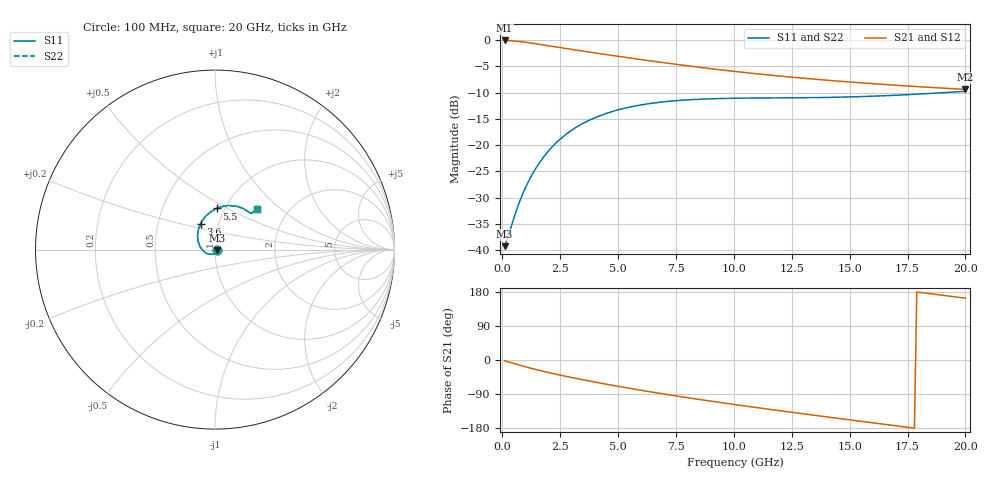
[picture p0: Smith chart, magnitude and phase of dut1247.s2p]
! Touchstone file exported from HFSS 2024.1.0
!  File:  C:/UserFiles/LocalFiles/RDL_TSV_Batchsim/temp_RDL_TSV_1247_1780268494.aedt
!  Generated:  07:17:26 AM Jun  1, 2026
!  Design:  RDL_TSV
!  Project:  temp_RDL_TSV_1247_1780268494
!  Setup:  Setup1
!  Solution:  Sweep
! Variables:
!  dtsv = 12.81um
!  hbump = 3um
!  htsv = 89.98um
!  ldown = 191.24um
!  lrdl = 491.46um
!  p = 40
!  p1 = 49.77um
!  rhole = 10um
!  subl = 2539.56um
!  t = 450um
!  tdown = 4.78um
!  trdl = 4.37um
!  viad = 10um
!  wdown = 27.46um
!  wrdl = 19.51um
!  xbump = 18um
# GHz S MA R 50.000000
! Terminal data exported
! Port[1] = TM1_1_T1
! Port[2] = TM1_4_T1
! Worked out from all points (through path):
!   200 points, 100 MHz to 20 GHz, reference 50 ohm
!   highest |S21| = -0.10 dB at 100 MHz (marker M1); lowest = -9.4 dB at 20 GHz (marker M2)
!   group delay of S21, straight-line fit = 25.7 ps
!   lowest |S11| = -39.2 dB at 100 MHz (marker M3), VSWR 1.02, Z = 51 - j0.414 ohm
!   |S11| at or under -10 dB: start of sweep to 19.17 GHz
!   |S22| runs from -39.2 to -9.8 dB; largest |S21 - S12| = 1.9e-14
!   S11 on the Smith chart (normalised r, x): 100 MHz: 1.02, -0.01; 3.6 GHz: 0.82, +0.24; 5.5 GHz: 0.92, +0.44; 20 GHz: 1.41, +0.70
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0.1  0.01092 -21.8  0.9889 -1.9  0.9889 -1.9  0.01092 -21.8
! Gamma 0 0 0 0
! Port Impedance 50 0 50 0
0.2  0.01246 -42.5  0.9871 -3.8  0.9871 -3.8  0.01246 -42.5
0.6  0.02361 -102.2  0.9732 -11.1  0.9732 -11.1  0.02362 -102.2
0.8  0.031 -122.3  0.963 -14.6  0.963 -14.6  0.03099 -122.2
1.1  0.04364 -146.1  0.9445 -19.6  0.9445 -19.6  0.04361 -146.0
1.5  0.06264 -170.7  0.9166 -25.9  0.9166 -25.9  0.06256 -170.6
1.9  0.083 170.1  0.8875 -31.8  0.8875 -31.8  0.08285 170.2
2.4  0.1088 151.0  0.852 -38.6  0.852 -38.6  0.1086 151.1
2.9  0.1338 135.7  0.8187 -45.1  0.8187 -45.1  0.1334 135.8
3.5  0.1614 120.9  0.7814 -52.4  0.7814 -52.4  0.161 121.0
3.6  0.1657 118.7  0.7755 -53.6  0.7755 -53.6  0.1653 118.8
4.5  0.2003 101.9  0.7249 -63.9  0.7249 -63.9  0.1997 101.9
5.5  0.2298 87.6  0.674 -74.8  0.674 -74.8  0.229 87.6
6.8  0.2555 73.6  0.6151 -88.0  0.6151 -88.0  0.2545 73.6
8.4  0.2723 61.6  0.5534 -103.1  0.5534 -103.1  0.2712 61.6
10.1  0.2791 53.2  0.5 -118.1  0.5 -118.1  0.278 53.2
11.7  0.2809 48.4  0.4595 -131.5  0.4595 -131.5  0.2798 48.5
13.4  0.2827 45.8  0.4248 -145.3  0.4248 -145.3  0.2816 45.9
15  0.287 44.8  0.3981 -157.9  0.3981 -157.9  0.2859 44.9
16.7  0.2959 44.5  0.3745 -171.3  0.3745 -171.3  0.2948 44.6
18.3  0.3082 44.3  0.3557 176.3  0.3557 176.3  0.3072 44.4
20  0.3243 43.8  0.3384 163.1  0.3384 163.1  0.3232 43.8
